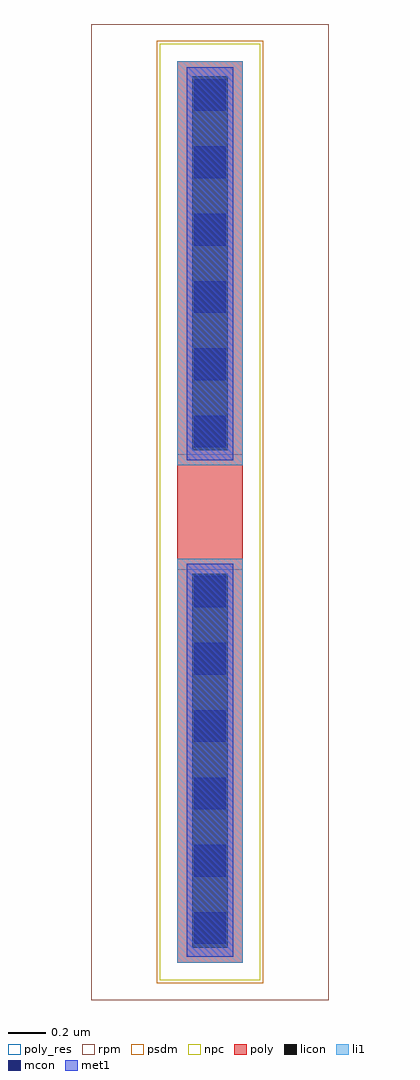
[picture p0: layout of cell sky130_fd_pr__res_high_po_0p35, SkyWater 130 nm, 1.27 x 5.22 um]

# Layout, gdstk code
import gdstk
lib = gdstk.Library(unit=1e-6, precision=1e-09)
def R(c, l, rs):  # rectangles x0, y0, x1, y1
    for r in rs: c.add(gdstk.rectangle(r[:2], r[2:], *l))
poly_res = (66, 13)
poly = (66, 20)
licon = (66, 44)
li1 = (67, 20)
mcon = (67, 44)
met1 = (68, 20)
rpm = (86, 20)
psdm = (94, 20)
npc = (95, 20)

compass_bb8c8efc = lib.new_cell('compass_bb8c8efc')
R(compass_bb8c8efc, poly_res, [(-0.175,-0.31,0.175,0.31)])

rectangle_34232b10 = lib.new_cell('rectangle_34232b10')
rectangle_34232b10.add(gdstk.Reference(compass_bb8c8efc, (0,0)))

compass_38a12c58 = lib.new_cell('compass_38a12c58')
R(compass_38a12c58, poly, [(-0.175,-2.41,0.175,2.41)])

rectangle_f1be2a03 = lib.new_cell('rectangle_f1be2a03')
rectangle_f1be2a03.add(gdstk.Reference(compass_38a12c58, (0,0)))

compass_e73885c1 = lib.new_cell('compass_e73885c1')
R(compass_e73885c1, psdm, [(-0.285,-2.52,0.285,2.52)])

rectangle_d7ff85ea = lib.new_cell('rectangle_d7ff85ea')
rectangle_d7ff85ea.add(gdstk.Reference(compass_e73885c1, (0,0)))

compass_b0eec9a4 = lib.new_cell('compass_b0eec9a4')
R(compass_b0eec9a4, npc, [(-0.27,-2.505,0.27,2.505)])

rectangle_31bf1955 = lib.new_cell('rectangle_31bf1955')
rectangle_31bf1955.add(gdstk.Reference(compass_b0eec9a4, (0,0)))

compass_328baa85 = lib.new_cell('compass_328baa85')
R(compass_328baa85, rpm, [(-0.635,-2.61,0.635,2.61)])

rectangle_dc603812 = lib.new_cell('rectangle_dc603812')
rectangle_dc603812.add(gdstk.Reference(compass_328baa85, (0,0)))

compass_002c6558 = lib.new_cell('compass_002c6558')
R(compass_002c6558, licon, [(-0.095,-1,0.095,1)])

rectangle_e30096d1 = lib.new_cell('rectangle_e30096d1')
rectangle_e30096d1.add(gdstk.Reference(compass_002c6558, (0,0)))

compass_1e8aabd3 = lib.new_cell('compass_1e8aabd3')
R(compass_1e8aabd3, li1, [(-0.175,-1.08,0.175,1.08)])

rectangle_0f73846a = lib.new_cell('rectangle_0f73846a')
rectangle_0f73846a.add(gdstk.Reference(compass_1e8aabd3, (0,0)))

compass_27f24e28 = lib.new_cell('compass_27f24e28')
R(compass_27f24e28, met1, [(-0.125,-1.052,0.125,1.052)])

rectangle_8b5c057a = lib.new_cell('rectangle_8b5c057a')
rectangle_8b5c057a.add(gdstk.Reference(compass_27f24e28, (0,0)))

compass_3c2dbaf2 = lib.new_cell('compass_3c2dbaf2')
R(compass_3c2dbaf2, mcon, [(-0.085,-0.085,0.085,0.085)])

rectangle_6fc50469 = lib.new_cell('rectangle_6fc50469')
rectangle_6fc50469.add(gdstk.Reference(compass_3c2dbaf2, (0,0)))

sky130_fd_pr__res_high_p = lib.new_cell('sky130_fd_pr__res_high_po_0p35')
sky130_fd_pr__res_high_p.add(gdstk.Reference(rectangle_34232b10, (0,0)))
sky130_fd_pr__res_high_p.add(gdstk.Reference(rectangle_f1be2a03, (0,0)))
sky130_fd_pr__res_high_p.add(gdstk.Reference(rectangle_d7ff85ea, (0,0)))
sky130_fd_pr__res_high_p.add(gdstk.Reference(rectangle_31bf1955, (0,0)))
sky130_fd_pr__res_high_p.add(gdstk.Reference(rectangle_dc603812, (0,0)))
r = gdstk.Reference(rectangle_e30096d1, (0,1.33)); r.repetition = gdstk.Repetition(1, 1, v1=(0.71,0), v2=(0,0.71)); sky130_fd_pr__res_high_p.add(r)
r = gdstk.Reference(rectangle_e30096d1, (0,-1.33)); r.repetition = gdstk.Repetition(1, 1, v1=(0.71,0), v2=(0,0.71)); sky130_fd_pr__res_high_p.add(r)
r = gdstk.Reference(rectangle_0f73846a, (0,1.33)); r.repetition = gdstk.Repetition(1, 1, v1=(0.35,0), v2=(0,0.35)); sky130_fd_pr__res_high_p.add(r)
r = gdstk.Reference(rectangle_0f73846a, (0,-1.33)); r.repetition = gdstk.Repetition(1, 1, v1=(0.35,0), v2=(0,0.35)); sky130_fd_pr__res_high_p.add(r)
r = gdstk.Reference(rectangle_8b5c057a, (0,1.328)); r.repetition = gdstk.Repetition(1, 1, v1=(0.25,0), v2=(0,0.25)); sky130_fd_pr__res_high_p.add(r)
r = gdstk.Reference(rectangle_8b5c057a, (0,-1.328)); r.repetition = gdstk.Repetition(1, 1, v1=(0.25,0), v2=(0,0.25)); sky130_fd_pr__res_high_p.add(r)
r = gdstk.Reference(rectangle_6fc50469, (0,0.43)); r.repetition = gdstk.Repetition(1, 6, v1=(0.36,0), v2=(0,0.36)); sky130_fd_pr__res_high_p.add(r)
r = gdstk.Reference(rectangle_6fc50469, (0,-2.225)); r.repetition = gdstk.Repetition(1, 6, v1=(0.36,0), v2=(0,0.36)); sky130_fd_pr__res_high_p.add(r)

lib.write_gds('sky130_fd_pr__res_high_po_0p35.gds')
